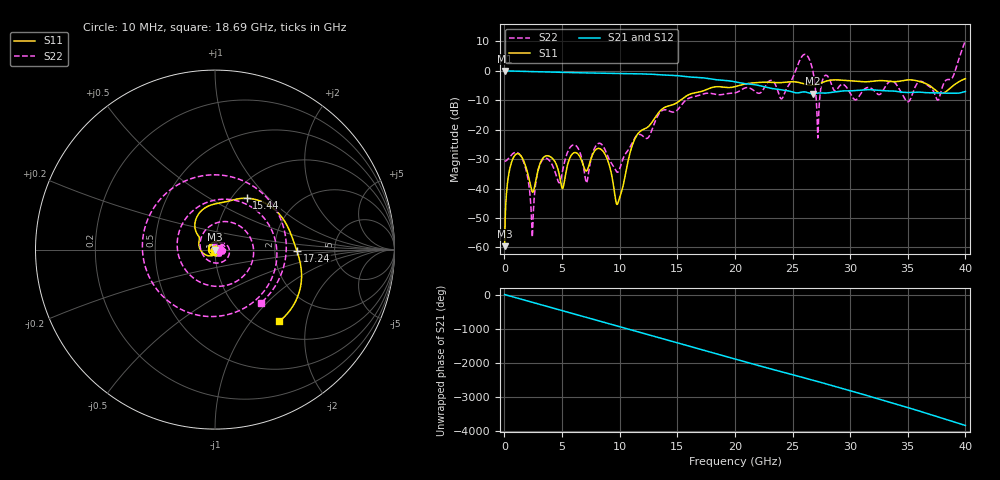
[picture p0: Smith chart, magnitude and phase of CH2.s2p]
!Keysight Technologies,N5245B,MY57181346,A.13.60.06
!Automatic Fixture Removal (AFR)
!Date: Thursday, August 08, 2019, 03:52:29
!S2P File: Measurements: S11,S21,S12,S22:
# MHz S  DB  R 50
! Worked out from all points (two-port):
!   4000 points, 10 MHz to 40 GHz, reference 50 ohm
!   highest |S21| = 0.00 dB at 10 MHz (marker M1); lowest = -7.7 dB at 26.75 GHz (marker M2)
!   |S21| within 3 dB of the highest: start of sweep to 18.33 GHz
!   lowest |S11| = -59.6 dB at 10 MHz (marker M3), VSWR 1.00, Z = 50.1 + j0.0462 ohm
!   |S11| at or under -10 dB: start of sweep to 15.26 GHz
!   |S22| runs from -56.5 to 10.3 dB; largest |S21 - S12| = 1.7e-14
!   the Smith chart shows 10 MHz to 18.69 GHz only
!   S11 on the Smith chart (normalised r, x): 10 MHz: 1.00, +0.00; 15.44 GHz: 1.17, +0.75; 17.24 GHz: 2.68, -0.05; 18.69 GHz: 1.24, -1.40
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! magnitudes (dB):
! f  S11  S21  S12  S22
! 10 MHz  -59.6  0.0  0.0  -30.7
! 370 MHz  -35.1  0.0  0.0  -29.7
! 970 MHz  -28.4  -0.1  -0.1  -27.7
! 2.41 GHz  -41.1  -0.3  -0.3  -56.5
! 3.33 GHz  -29.7  -0.4  -0.4  -30.1
! 5.03 GHz  -40.0  -0.5  -0.5  -34.2
! 6.68 GHz  -30.4  -0.7  -0.7  -29.4
! 8.51 GHz  -27.1  -0.8  -0.8  -25.3
! 9.84 GHz  -45.0  -0.9  -0.9  -34.4
! 11.29 GHz  -23.3  -1.0  -1.0  -23.0
! 13.34 GHz  -14.3  -1.3  -1.3  -15.0
! 15.44 GHz  -9.5  -1.8  -1.8  -11.2
! 17.24 GHz  -6.8  -2.4  -2.4  -7.9
! 18.69 GHz  -5.4  -3.1  -3.1  -8.1
! 20.01 GHz  -5.4  -3.7  -3.7  -7.5
! 26.67 GHz  -4.9  -7.7  -7.7  1.5
! 26.75 GHz  -4.9  -7.7  -7.7  0.2
! 27.21 GHz  -4.5  -7.5  -7.5  -21.8
! 27.86 GHz  -3.5  -7.6  -7.6  -1.5
! 33.34 GHz  -3.5  -6.8  -6.8  -3.9
! 37.62 GHz  -7.2  -7.5  -7.5  -10.0
! 40 GHz  -2.7  -7.0  -7.0  10.3
